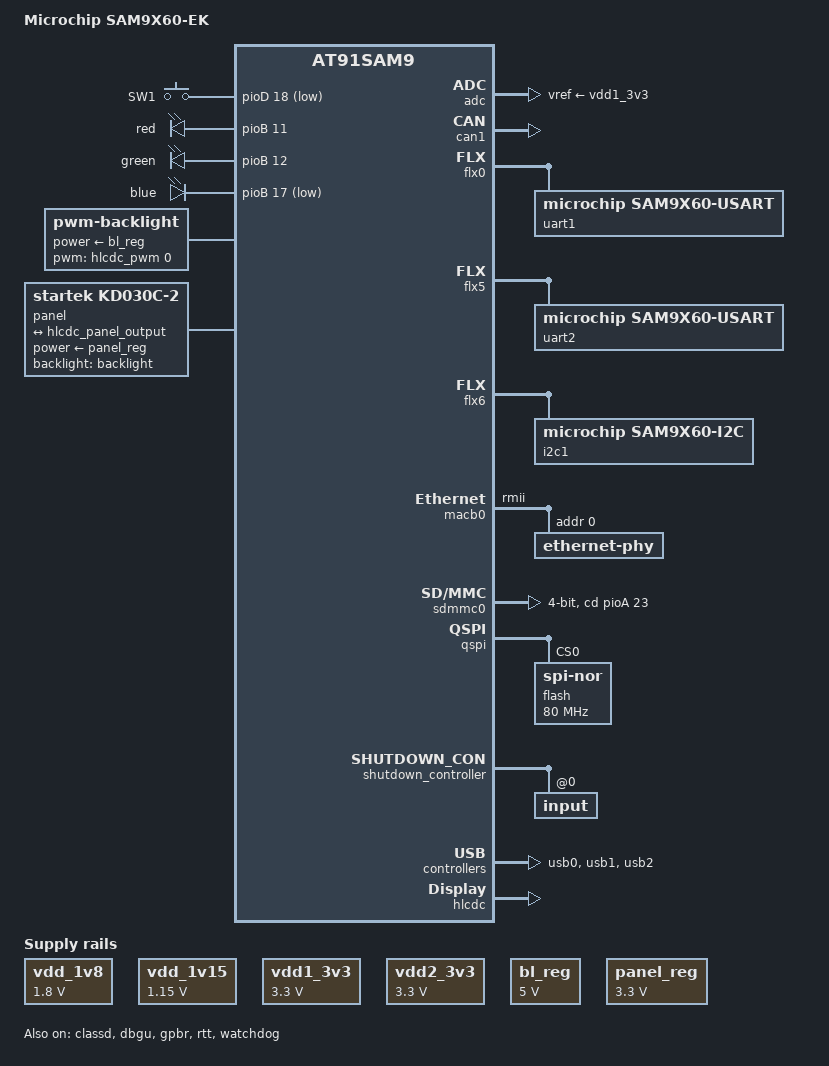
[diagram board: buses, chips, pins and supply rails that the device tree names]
// SPDX-License-Identifier: (GPL-2.0+ OR MIT)
/*
 * at91-sam9x60ek.dts - Device Tree file for Microchip SAM9X60-EK board
 *
 * Copyright (C) 2019 Microchip Technology Inc. and its subsidiaries
 *
 * Author: Sandeep Sheriker M <sandeepsheriker.mallikarjun@microchip.com>
 */
/dts-v1/;
#include "sam9x60.dtsi"
#include <dt-bindings/input/input.h>

/ {
	model = "Microchip SAM9X60-EK";
	compatible = "microchip,sam9x60ek", "microchip,sam9x60", "atmel,at91sam9";

	aliases {
		serial1 = &uart1;
		serial2 = &uart2;
		i2c1 = &i2c1;
	};

	chosen {
		stdout-path = "serial0:115200n8";
		bootargs = "mem=256M console=ttyS0,115200 root=/dev/mmcblk0p1 rootfstype=ext4 rootdelay=0 rw rootwait g_mass_storage.removable=1";
	};

	clocks {
		slow_xtal {
			clock-frequency = <32768>;
		};

		main_xtal {
			clock-frequency = <24000000>;
		};
	};

	regulators: regulators {
		compatible = "simple-bus";
		#address-cells = <1>;
		#size-cells = <0>;

		vdd_1v8: fixed-regulator-vdd_1v8@0 {
			compatible = "regulator-fixed";
			regulator-name = "VDD_1V8";
			regulator-min-microvolt = <1800000>;
			regulator-max-microvolt = <1800000>;
			regulator-always-on;
			status = "okay";
		};

		vdd_1v15: fixed-regulator-vdd_1v15@1 {
			compatible = "regulator-fixed";
			regulator-name = "VDD_1V15";
			regulator-min-microvolt = <1150000>;
			regulator-max-microvolt = <1150000>;
			regulator-always-on;
			status = "okay";
		};

		vdd1_3v3: fixed-regulator-vdd1_3v3@2 {
			compatible = "regulator-fixed";
			regulator-name = "VDD1_3V3";
			regulator-min-microvolt = <3300000>;
			regulator-max-microvolt = <3300000>;
			regulator-always-on;
			status = "okay";
		};

		vdd2_3v3: regulator-fixed-vdd2_3v3@3 {
			compatible = "regulator-fixed";
			regulator-name = "VDD2_3V3";
			regulator-min-microvolt = <3300000>;
			regulator-max-microvolt = <3300000>;
			regulator-always-on;
			status = "okay";
		};
	};

	gpio_keys {
		compatible = "gpio-keys";
		pinctrl-names = "default";
		pinctrl-0 = <&pinctrl_key_gpio_default>;
		status = "okay";

		sw1 {
			label = "SW1";
			gpios = <&pioD 18 GPIO_ACTIVE_LOW>;
			linux,code=<KEY_PROG1>;
			wakeup-source;
		};
	};

	leds {
		compatible = "gpio-leds";
		pinctrl-names = "default";
		pinctrl-0 = <&pinctrl_gpio_leds>;
		status = "okay"; /* Conflict with pwm0. */

		red {
			label = "red";
			gpios = <&pioB 11 GPIO_ACTIVE_HIGH>;
		};

		green {
			label = "green";
			gpios = <&pioB 12 GPIO_ACTIVE_HIGH>;
		};

		blue {
			label = "blue";
			gpios = <&pioB 17 GPIO_ACTIVE_LOW>;
			linux,default-trigger = "heartbeat";
		};
	};
};

&adc {
	vddana-supply = <&vdd1_3v3>;
	vref-supply = <&vdd1_3v3>;
	pinctrl-names = "default";
	pinctrl-0 = <&pinctrl_adc_vbat &pinctrl_adc_usb>;
	status = "okay";
};

&can0 {
	pinctrl-names = "default";
	pinctrl-0 = <&pinctrl_can0_rx_tx>;
	status = "disabled"; /* Conflict with dbgu. */
};

&can1 {
	pinctrl-names = "default";
	pinctrl-0 = <&pinctrl_can1_rx_tx>;
	status = "okay";
};

&classd {
	pinctrl-names = "default";
	pinctrl-0 = <&pinctrl_classd_default>;
	atmel,pwm-type = "diff";
	atmel,non-overlap-time = <10>;
	status = "okay";
};

&dbgu {
	pinctrl-names = "default";
	pinctrl-0 = <&pinctrl_dbgu>;
	status = "okay"; /* Conflict with can0. */
};

&flx0 {
	atmel,flexcom-mode = <ATMEL_FLEXCOM_MODE_USART>;
	status = "okay";

	uart1: serial@200 {
		compatible = "microchip,sam9x60-usart", "atmel,at91sam9260-usart";
		reg = <0x200 0x200>;
		interrupts = <5 IRQ_TYPE_LEVEL_HIGH 7>;
		dmas = <&dma0
			(AT91_XDMAC_DT_MEM_IF(0) | AT91_XDMAC_DT_PER_IF(1) |
			 AT91_XDMAC_DT_PERID(0))>,
		       <&dma0
			(AT91_XDMAC_DT_MEM_IF(0) | AT91_XDMAC_DT_PER_IF(1) |
			 AT91_XDMAC_DT_PERID(1))>;
		dma-names = "tx", "rx";
		clocks = <&pmc PMC_TYPE_PERIPHERAL 5>;
		clock-names = "usart";
		pinctrl-0 = <&pinctrl_flx0_default>;
		pinctrl-names = "default";
		atmel,use-dma-rx;
		atmel,use-dma-tx;
		status = "okay";
	};
};

&flx4 {
	atmel,flexcom-mode = <ATMEL_FLEXCOM_MODE_SPI>;
	status = "disabled";

	spi0: spi@400 {
		compatible = "microchip,sam9x60-spi", "atmel,at91rm9200-spi";
		reg = <0x400 0x200>;
		interrupts = <13 IRQ_TYPE_LEVEL_HIGH 7>;
		clocks = <&pmc PMC_TYPE_PERIPHERAL 13>;
		clock-names = "spi_clk";
		pinctrl-names = "default";
		pinctrl-0 = <&pinctrl_flx4_default>;
		atmel,fifo-size = <16>;
		#address-cells = <1>;
		#size-cells = <0>;
		status = "disabled";
	};
};

&flx5 {
	atmel,flexcom-mode = <ATMEL_FLEXCOM_MODE_USART>;
	status = "okay";

	uart2: serial@200 {
		compatible = "microchip,sam9x60-usart", "atmel,at91sam9260-usart";
		reg = <0x200 0x200>;
		interrupts = <14 IRQ_TYPE_LEVEL_HIGH 7>;
		dmas = <&dma0
			(AT91_XDMAC_DT_MEM_IF(0) | AT91_XDMAC_DT_PER_IF(1) |
			 AT91_XDMAC_DT_PERID(10))>,
		       <&dma0
			(AT91_XDMAC_DT_MEM_IF(0) | AT91_XDMAC_DT_PER_IF(1) |
			 AT91_XDMAC_DT_PERID(11))>;
		dma-names = "tx", "rx";
		clocks = <&pmc PMC_TYPE_PERIPHERAL 14>;
		clock-names = "usart";
		pinctrl-0 = <&pinctrl_flx5_default>;
		pinctrl-names = "default";
		atmel,use-dma-rx;
		atmel,use-dma-tx;
		status = "okay";
	};
};

&flx6 {
	atmel,flexcom-mode = <ATMEL_FLEXCOM_MODE_TWI>;
	status = "okay";

	i2c1: i2c@600 {
		compatible = "microchip,sam9x60-i2c";
		reg = <0x600 0x200>;
		interrupts = <9 IRQ_TYPE_LEVEL_HIGH 7>;
		#address-cells = <1>;
		#size-cells = <0>;
		clocks = <&pmc PMC_TYPE_PERIPHERAL 9>;
		pinctrl-names = "default";
		pinctrl-0 = <&pinctrl_flx6_default>;
		atmel,fifo-size = <16>;
		i2c-analog-filter;
		i2c-digital-filter;
		i2c-digital-filter-width-ns = <35>;
		status = "okay";

		gpio_exp: mcp23008@20 {
			compatible = "microchip,mcp23008";
			reg = <0x20>;
		};
	};
};

&gpbr {
	status = "okay";
};

&i2s {
	pinctrl-names = "default";
	pinctrl-0 = <&pinctrl_i2s_default>;
	#sound-dai-cells = <0>;
	status = "disabled"; /* Conflict with QSPI. */
};

&macb0 {
	phy-mode = "rmii";
	#address-cells = <1>;
	#size-cells = <0>;
	pinctrl-names = "default";
	pinctrl-0 = <&pinctrl_macb0_rmii>;
	status = "okay";

	ethernet-phy@0 {
		reg = <0x0>;
	};
};

&pinctrl {
	adc {
		pinctrl_adc_vbat: adc_vain_vbat {
			atmel,pins = <AT91_PIOB 13 AT91_PERIPH_A AT91_PINCTRL_NONE>;
		};

		pinctrl_adc_usb: adc_vain_usb {
			atmel,pins = <AT91_PIOB 16 AT91_PERIPH_A AT91_PINCTRL_NONE>;
		};
	};

	dbgu {
		pinctrl_dbgu: dbgu-0 {
			atmel,pins = <AT91_PIOA 9 AT91_PERIPH_A AT91_PINCTRL_PULL_UP
				      AT91_PIOA 10 AT91_PERIPH_A AT91_PINCTRL_NONE>;
		};
	};

	i2s {
		pinctrl_i2s_default: i2s {
			atmel,pins =
				<AT91_PIOB 19 AT91_PERIPH_B AT91_PINCTRL_NONE		/* I2SCK */
				 AT91_PIOB 20 AT91_PERIPH_B AT91_PINCTRL_NONE		/* I2SWS */
				 AT91_PIOB 21 AT91_PERIPH_B AT91_PINCTRL_NONE		/* I2SDIN */
				 AT91_PIOB 22 AT91_PERIPH_B AT91_PINCTRL_NONE		/* I2SDOUT */
				 AT91_PIOB 23 AT91_PERIPH_B AT91_PINCTRL_NONE>;		/* I2SMCK */
		};
	};

	qspi {
		pinctrl_qspi: qspi {
			atmel,pins =
				<AT91_PIOB 19 AT91_PERIPH_A AT91_PINCTRL_SLEWRATE_DIS
				 AT91_PIOB 20 AT91_PERIPH_A AT91_PINCTRL_SLEWRATE_DIS
				 AT91_PIOB 21 AT91_PERIPH_A (AT91_PINCTRL_PULL_UP | AT91_PINCTRL_SLEWRATE_DIS)
				 AT91_PIOB 22 AT91_PERIPH_A (AT91_PINCTRL_PULL_UP | AT91_PINCTRL_SLEWRATE_DIS)
				 AT91_PIOB 23 AT91_PERIPH_A (AT91_PINCTRL_PULL_UP | AT91_PINCTRL_SLEWRATE_DIS)
				 AT91_PIOB 24 AT91_PERIPH_A (AT91_PINCTRL_PULL_UP | AT91_PINCTRL_SLEWRATE_DIS)>;
		};
	};

	flexcom {
		pinctrl_flx0_default: flx0_uart {
			atmel,pins =
				<AT91_PIOA 0 AT91_PERIPH_A AT91_PINCTRL_PULL_UP
				 AT91_PIOA 1 AT91_PERIPH_A AT91_PINCTRL_PULL_UP>;
		};

		pinctrl_flx4_default: flx4_spi {
			atmel,pins =
				<AT91_PIOA 11 AT91_PERIPH_A AT91_PINCTRL_NONE
				 AT91_PIOA 12 AT91_PERIPH_A AT91_PINCTRL_NONE
				 AT91_PIOA 13 AT91_PERIPH_A AT91_PINCTRL_NONE
				 AT91_PIOA 14 AT91_PERIPH_A AT91_PINCTRL_NONE>;
		};

		pinctrl_flx5_default: flx_uart {
			atmel,pins =
				<AT91_PIOA 7 AT91_PERIPH_C AT91_PINCTRL_NONE
				 AT91_PIOA 8 AT91_PERIPH_B AT91_PINCTRL_NONE
				 AT91_PIOA 21 AT91_PERIPH_B AT91_PINCTRL_NONE
				 AT91_PIOA 22 AT91_PERIPH_B AT91_PINCTRL_NONE>;
		};

		pinctrl_flx6_default: flx6_twi {
			atmel,pins =
				<AT91_PIOA 30 AT91_PERIPH_A AT91_PINCTRL_PULL_UP
				 AT91_PIOA 31 AT91_PERIPH_A AT91_PINCTRL_PULL_UP>;
		};
	};

	classd {
		pinctrl_classd_default: classd {
			atmel,pins =
				<AT91_PIOA 24 AT91_PERIPH_C AT91_PINCTRL_PULL_UP
				 AT91_PIOA 25 AT91_PERIPH_C AT91_PINCTRL_PULL_DOWN
				 AT91_PIOA 26 AT91_PERIPH_C AT91_PINCTRL_PULL_UP
				 AT91_PIOA 27 AT91_PERIPH_C AT91_PINCTRL_PULL_DOWN>;
		};
	};

	can0 {
		pinctrl_can0_rx_tx: can0_rx_tx {
			atmel,pins =
				<AT91_PIOA 9 AT91_PERIPH_B AT91_PINCTRL_NONE	/* CANRX0 */
				 AT91_PIOA 10 AT91_PERIPH_B AT91_PINCTRL_NONE	/* CANTX0 */
				 AT91_PIOD 20 AT91_PERIPH_GPIO AT91_PINCTRL_PULL_DOWN	/* Enable CAN0 mux */
				 AT91_PIOD 21 AT91_PERIPH_GPIO AT91_PINCTRL_PULL_DOWN>;	/* Enable CAN Transceivers */
		};
	};

	can1 {
		pinctrl_can1_rx_tx: can1_rx_tx {
			atmel,pins =
				<AT91_PIOA 6 AT91_PERIPH_B AT91_PINCTRL_NONE	/* CANRX1 RXD1 */
				 AT91_PIOA 5 AT91_PERIPH_B AT91_PINCTRL_NONE	/* CANTX1 TXD1 */
				 AT91_PIOD 19 AT91_PERIPH_GPIO AT91_PINCTRL_PULL_DOWN	/* Enable CAN1 mux */
				 AT91_PIOD 21 AT91_PERIPH_GPIO AT91_PINCTRL_PULL_DOWN>;	/* Enable CAN Transceivers */
		};
	};

	macb0 {
		pinctrl_macb0_rmii: macb0_rmii-0 {
			atmel,pins =
				<AT91_PIOB 0 AT91_PERIPH_A AT91_PINCTRL_NONE	/* PB0 periph A */
				 AT91_PIOB 1 AT91_PERIPH_A AT91_PINCTRL_NONE	/* PB1 periph A */
				 AT91_PIOB 2 AT91_PERIPH_A AT91_PINCTRL_NONE	/* PB2 periph A */
				 AT91_PIOB 3 AT91_PERIPH_A AT91_PINCTRL_NONE	/* PB3 periph A */
				 AT91_PIOB 4 AT91_PERIPH_A AT91_PINCTRL_NONE	/* PB4 periph A */
				 AT91_PIOB 5 AT91_PERIPH_A AT91_PINCTRL_NONE	/* PB5 periph A */
				 AT91_PIOB 6 AT91_PERIPH_A AT91_PINCTRL_NONE	/* PB6 periph A */
				 AT91_PIOB 7 AT91_PERIPH_A AT91_PINCTRL_NONE	/* PB7 periph A */
				 AT91_PIOB 9 AT91_PERIPH_A AT91_PINCTRL_NONE	/* PB9 periph A */
				 AT91_PIOB 10 AT91_PERIPH_A AT91_PINCTRL_NONE>;	/* PB10 periph A */
		};
	};

	pwm0 {
		pinctrl_pwm0_0: pwm0_0 {
			atmel,pins = <AT91_PIOB 11 AT91_PERIPH_B AT91_PINCTRL_NONE>;
		};

		pinctrl_pwm0_1: pwm0_1 {
			atmel,pins = <AT91_PIOB 12 AT91_PERIPH_B AT91_PINCTRL_NONE>;
		};

		pinctrl_pwm0_2: pwm0_2 {
			atmel,pins = <AT91_PIOB 13 AT91_PERIPH_B AT91_PINCTRL_NONE>;
		};

		pinctrl_pwm0_3: pwm0_3 {
			atmel,pins = <AT91_PIOB 14 AT91_PERIPH_B AT91_PINCTRL_NONE>;
		};
	};

	sdmmc0 {
		pinctrl_sdmmc0_default: sdmmc0 {
			atmel,pins =
				<AT91_PIOA 17 AT91_PERIPH_A (AT91_PINCTRL_DRIVE_STRENGTH_HI)				/* PA17 CK  periph A with pullup */
				 AT91_PIOA 16 AT91_PERIPH_A (AT91_PINCTRL_PULL_UP | AT91_PINCTRL_DRIVE_STRENGTH_HI)	/* PA16 CMD periph A with pullup */
				 AT91_PIOA 15 AT91_PERIPH_A (AT91_PINCTRL_PULL_UP | AT91_PINCTRL_DRIVE_STRENGTH_HI)	/* PA15 DAT0 periph A */
				 AT91_PIOA 18 AT91_PERIPH_A (AT91_PINCTRL_PULL_UP | AT91_PINCTRL_DRIVE_STRENGTH_HI)	/* PA18 DAT1 periph A with pullup */
				 AT91_PIOA 19 AT91_PERIPH_A (AT91_PINCTRL_PULL_UP | AT91_PINCTRL_DRIVE_STRENGTH_HI)	/* PA19 DAT2 periph A with pullup */
				 AT91_PIOA 20 AT91_PERIPH_A (AT91_PINCTRL_PULL_UP | AT91_PINCTRL_DRIVE_STRENGTH_HI)>;	/* PA20 DAT3 periph A with pullup */
		};
		pinctrl_sdmmc0_cd: sdmmc0_cd {
			atmel,pins =
				<AT91_PIOA 23 AT91_PERIPH_GPIO AT91_PINCTRL_NONE>;
		};
	};

	sdmmc1 {
		pinctrl_sdmmc1_default: sdmmc1 {
			atmel,pins =
				<AT91_PIOA 13 AT91_PERIPH_B (AT91_PINCTRL_DRIVE_STRENGTH_HI)				/* PA13 CK periph B */
				 AT91_PIOA 12 AT91_PERIPH_B (AT91_PINCTRL_PULL_UP | AT91_PINCTRL_DRIVE_STRENGTH_HI)	/* PA12 CMD periph B with pullup */
				 AT91_PIOA 11 AT91_PERIPH_B (AT91_PINCTRL_PULL_UP | AT91_PINCTRL_DRIVE_STRENGTH_HI)	/* PA11 DAT0 periph B with pullup */
				 AT91_PIOA  2 AT91_PERIPH_B (AT91_PINCTRL_PULL_UP | AT91_PINCTRL_DRIVE_STRENGTH_HI)	/* PA2 DAT1 periph B with pullup */
				 AT91_PIOA  3 AT91_PERIPH_B (AT91_PINCTRL_PULL_UP | AT91_PINCTRL_DRIVE_STRENGTH_HI)	/* PA3 DAT2 periph B with pullup */
				 AT91_PIOA  4 AT91_PERIPH_B (AT91_PINCTRL_PULL_UP | AT91_PINCTRL_DRIVE_STRENGTH_HI)>;	/* PA4 DAT3 periph B with pullup */
		};
	};

	gpio_keys {
		pinctrl_key_gpio_default: pinctrl_key_gpio {
			atmel,pins = <AT91_PIOD 18 AT91_PERIPH_GPIO AT91_PINCTRL_NONE>;
		};
	};

	usb0 {
		pinctrl_usba_vbus: usba_vbus {
			atmel,pins = <AT91_PIOB 16 AT91_PERIPH_GPIO AT91_PINCTRL_NONE>;
		};
	};

	usb1 {
		pinctrl_usb_default: usb_default {
			atmel,pins = <AT91_PIOD 15 AT91_PERIPH_GPIO AT91_PINCTRL_NONE
				      AT91_PIOD 16 AT91_PERIPH_GPIO AT91_PINCTRL_NONE>;
		};
	};

	leds {
		pinctrl_gpio_leds: gpio_leds {
			atmel,pins = <AT91_PIOB 11 AT91_PERIPH_GPIO AT91_PINCTRL_NONE
				      AT91_PIOB 12 AT91_PERIPH_GPIO AT91_PINCTRL_NONE
				      AT91_PIOB 17 AT91_PERIPH_GPIO AT91_PINCTRL_NONE>;
		};
	};

	lcd {
                pinctrl_lcd_base: lcd-base-0 {
                        atmel,pins =
                                <AT91_PIOC 27 AT91_PERIPH_A AT91_PINCTRL_NONE   /* LCDVSYNC */
                                 AT91_PIOC 28 AT91_PERIPH_A AT91_PINCTRL_NONE   /* LCDHSYNC */
                                 AT91_PIOC 24 AT91_PERIPH_A AT91_PINCTRL_NONE   /* LCDDISP */
                                 AT91_PIOC 29 AT91_PERIPH_A AT91_PINCTRL_NONE   /* LCDDEN */
                                 AT91_PIOC 30 AT91_PERIPH_A AT91_PINCTRL_NONE>; /* LCDPCK */
                };

                pinctrl_lcd_pwm: lcd-pwm-0 {
                        atmel,pins = <AT91_PIOC 26 AT91_PERIPH_A AT91_PINCTRL_NONE>;    /* LCDPWM */
                };

                pinctrl_lcd_rgb666: lcd-rgb-2 {
                        atmel,pins =
                                <AT91_PIOC 0 AT91_PERIPH_A AT91_PINCTRL_NONE    /* LCDD0 pin */
                                 AT91_PIOC 1 AT91_PERIPH_A AT91_PINCTRL_NONE    /* LCDD1 pin */
                                 AT91_PIOC 2 AT91_PERIPH_A AT91_PINCTRL_NONE    /* LCDD2 pin */
                                 AT91_PIOC 3 AT91_PERIPH_A AT91_PINCTRL_NONE    /* LCDD3 pin */
                                 AT91_PIOC 4 AT91_PERIPH_A AT91_PINCTRL_NONE    /* LCDD4 pin */
                                 AT91_PIOC 5 AT91_PERIPH_A AT91_PINCTRL_NONE    /* LCDD5 pin */
                                 AT91_PIOC 6 AT91_PERIPH_A AT91_PINCTRL_NONE    /* LCDD6 pin */
                                 AT91_PIOC 7 AT91_PERIPH_A AT91_PINCTRL_NONE    /* LCDD7 pin */
                                 AT91_PIOC 8 AT91_PERIPH_A AT91_PINCTRL_NONE    /* LCDD8 pin */
                                 AT91_PIOC 9 AT91_PERIPH_A AT91_PINCTRL_NONE    /* LCDD9 pin */
                                 AT91_PIOC 10 AT91_PERIPH_A AT91_PINCTRL_NONE   /* LCDD10 pin */
                                 AT91_PIOC 11 AT91_PERIPH_A AT91_PINCTRL_NONE   /* LCDD11 pin */
                                 AT91_PIOC 12 AT91_PERIPH_A AT91_PINCTRL_NONE   /* LCDD12 pin */
                                 AT91_PIOC 13 AT91_PERIPH_A AT91_PINCTRL_NONE   /* LCDD13 pin */
                                 AT91_PIOC 14 AT91_PERIPH_A AT91_PINCTRL_NONE   /* LCDD14 pin */
                                 AT91_PIOC 15 AT91_PERIPH_A AT91_PINCTRL_NONE   /* LCDD15 pin */
                                 AT91_PIOC 16 AT91_PERIPH_A AT91_PINCTRL_NONE   /* LCDD16 pin */
                                 AT91_PIOC 17 AT91_PERIPH_A AT91_PINCTRL_NONE>; /* LCDD17 pin */
                };
	};
}; /* pinctrl */

&pwm0 {
	pinctrl-names = "default";
	pinctrl-0 = <&pinctrl_pwm0_0 &pinctrl_pwm0_1 &pinctrl_pwm0_2 &pinctrl_pwm0_3>;
	status = "disabled"; /* Conflict with leds. */
};

&sdmmc0 {
	bus-width = <4>;
	pinctrl-names = "default";
	pinctrl-0 = <&pinctrl_sdmmc0_default &pinctrl_sdmmc0_cd>;
	status = "okay";
	cd-gpios = <&pioA 23 GPIO_ACTIVE_HIGH>;
	disable-wp;
};

&sdmmc1 {
	bus-width = <4>;
	pinctrl-names = "default";
	pinctrl-0 = <&pinctrl_sdmmc1_default>;
	no-1-8-v;
	non-removable;
	status = "disabled"; /* Conflict with flx4. */
};

&qspi {
	pinctrl-names = "default";
	pinctrl-0 = <&pinctrl_qspi>;
	status = "okay"; /* Conflict with i2s. */

	flash@0 {
		#address-cells = <1>;
		#size-cells = <1>;
		compatible = "jedec,spi-nor";
		reg = <0>;
		spi-max-frequency = <80000000>;
		spi-tx-bus-width = <4>;
		spi-rx-bus-width = <4>;
		m25p,fast-read;

		at91bootstrap@0 {
			label = "qspi: at91bootstrap";
			reg = <0x0 0x40000>;
		};
		dtb@180000 {
			label = "qspi: device tree";
			reg = <0x180000 0x80000>;
		};

		kernel@200000 {
			label = "qspi: kernel";
			reg = <0x200000 0x600000>;
		};

		scratch@600000 {
			label = "qspi: user scratch";
			reg = <0x600000 0x700000>;
		};
	};
};

&rtt {
	atmel,rtt-rtc-time-reg = <&gpbr 0x0>;
	status = "okay";
};

&shutdown_controller {
	debounce-delay-us = <976>;
	status = "okay";

	input@0 {
		reg = <0>;
	};
};

&tcb0 {
	timer0: timer@0 {
		compatible = "atmel,tcb-timer";
		reg = <0>;
	};

	timer1: timer@1 {
		compatible = "atmel,tcb-timer";
		reg = <1>;
	};
};

&usb0 {
	//atmel,vbus-gpio = <&pioB 16 GPIO_ACTIVE_HIGH>;
	pinctrl-names = "default";
	//pinctrl-0 = <&pinctrl_usba_vbus>;
	status = "okay";
};

&usb1 {
	num-ports = <3>;
	atmel,vbus-gpio = <0
			   &pioD 15 GPIO_ACTIVE_HIGH
			   &pioD 16 GPIO_ACTIVE_HIGH>;
	pinctrl-names = "default";
	pinctrl-0 = <&pinctrl_usb_default>;
	status = "okay";
};

&usb2 {
	status = "okay";
};

&watchdog {
	status = "okay";
};

&hlcdc {
	status = "okay";


	hlcdc-display-controller {
		pinctrl-names = "default";
		pinctrl-0 = <&pinctrl_lcd_base &pinctrl_lcd_rgb666>;
		port@0 {
			#address-cells = <1>;
			#size-cells = <0>;
			hlcdc_panel_output: endpoint@0 {
				reg = <0>;
				remote-endpoint = <&panel_input>;
			};
		};
	};
};



&{/} {
	model = "SAM9X60 Lightning ";

	backlight: backlight {
		compatible = "pwm-backlight";
		pwms = <&hlcdc_pwm 0 50000 0>;
		brightness-levels = <0 4 8 16 32 64 128 255>;
		default-brightness-level = <7>;
		power-supply = <&bl_reg>;
		status = "okay";
	};

	bl_reg: backlight_regulator {
		compatible = "regulator-fixed";
		regulator-name = "backlight-power-supply";
		regulator-min-microvolt = <5000000>;
		regulator-max-microvolt = <5000000>;
		status = "okay";
	};

	panel: panel {
		compatible = "startek,kd030c-2", "simple-panel";
		backlight = <&backlight>;
		power-supply = <&panel_reg>;
		#address-cells = <1>;
		#size-cells = <0>;
		status = "okay";

		port@0 {
			reg = <0>;
			#address-cells = <1>;
			#size-cells = <0>;

			panel_input: endpoint@0 {
				reg = <0>;
				remote-endpoint = <&hlcdc_panel_output>;
			};
		};
	};

	panel_reg: panel_regulator {
		compatible = "regulator-fixed";
		regulator-name = "panel-power-supply";
		regulator-min-microvolt = <3300000>;
		regulator-max-microvolt = <3300000>;
		status = "okay";
	};
};

